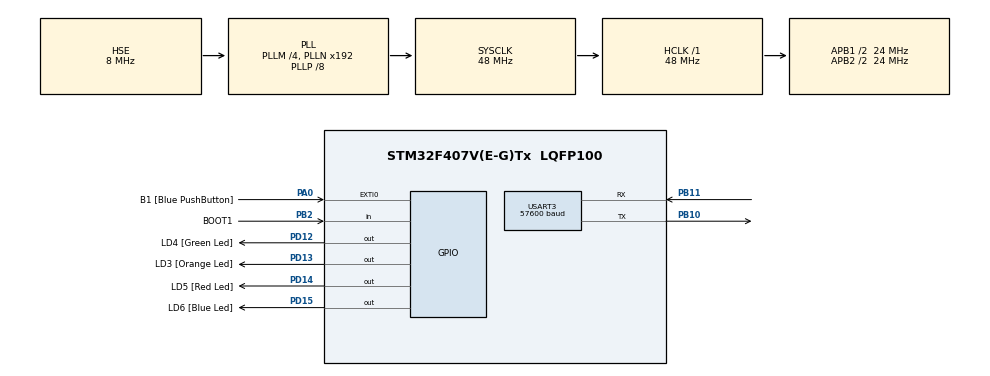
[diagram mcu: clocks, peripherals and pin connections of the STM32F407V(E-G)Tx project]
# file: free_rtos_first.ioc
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FREERTOS.BinarySemaphores01=BinSem01_UART_Green,Dynamic,NULL
FREERTOS.Queues01=myQueue01,1,uint16_t,0,Dynamic,NULL,NULL
FREERTOS.Tasks01=defaultTask,24,128,StartDefaultTask,Default,NULL,Dynamic,NULL,NULL;myTask1ms,8,128,Task1msHandler,Default,NULL,Dynamic,NULL,NULL;myTask10ms,8,128,Task10msHandler,Default,NULL,Dynamic,NULL,NULL;myTask100ms,8,128,Task100msHandler,Default,NULL,Dynamic,NULL,NULL;ButtonCheck,24,128,ButtonCheckHandler,Default,NULL,Dynamic,NULL,NULL;ButtonLedBlink,8,128,ButtonLedBlinkHandler,Default,NULL,Dynamic,NULL,NULL;Task_UART,8,128,Task_UART_Handle,Default,NULL,Dynamic,NULL,NULL
Mcu.Family=STM32F4
Mcu.Name=STM32F407V(E-G)Tx
Mcu.Package=LQFP100
NVIC.PriorityGroup=NVIC_PRIORITYGROUP_4
NVIC.TIM4_IRQn=true\:0\:0\:false\:false\:true\:false\:false\:true
NVIC.TimeBase=TIM4_IRQn
NVIC.TimeBaseIP=TIM4
PA0-WKUP.GPIO_Label=B1 [Blue PushButton]
PA0-WKUP.Signal=GPXTI0
PB10.Mode=Asynchronous
PB10.Signal=USART3_TX
PB11.Mode=Asynchronous
PB11.Signal=USART3_RX
PB2.GPIO_Label=BOOT1
PB2.GPIO_Mode=GPIO_MODE_INPUT
PB2.GPIO_PuPd=GPIO_NOPULL
PB2.Signal=GPIO_Input
PD12.GPIO_Label=LD4 [Green Led]
PD12.GPIO_PuPd=GPIO_NOPULL
PD12.GPIO_Speed=GPIO_SPEED_FREQ_LOW
PD12.Signal=GPIO_Output
PD13.GPIO_Label=LD3 [Orange Led]
PD13.GPIO_PuPd=GPIO_NOPULL
PD13.GPIO_Speed=GPIO_SPEED_FREQ_LOW
PD13.Signal=GPIO_Output
PD14.GPIO_Label=LD5 [Red Led]
PD14.GPIO_PuPd=GPIO_NOPULL
PD14.GPIO_Speed=GPIO_SPEED_FREQ_LOW
PD14.Signal=GPIO_Output
PD15.GPIO_Label=LD6 [Blue Led]
PD15.GPIO_PuPd=GPIO_NOPULL
PD15.GPIO_Speed=GPIO_SPEED_FREQ_LOW
PD15.Signal=GPIO_Output
PH0-OSC_IN.GPIO_Label=PH0-OSC_IN
PH0-OSC_IN.Mode=HSE-External-Clock-Source
PH0-OSC_IN.Signal=RCC_OSC_IN
PH1-OSC_OUT.GPIO_Label=PH1-OSC_OUT
PH1-OSC_OUT.Mode=HSE-External-Clock-Source
PH1-OSC_OUT.Signal=RCC_OSC_OUT
ProjectManager.HeapSize=0x2000
ProjectManager.StackSize=0x4000
ProjectManager.TargetToolchain=STM32CubeIDE
RCC.48MHZClocksFreq_Value=48000000
RCC.AHBFreq_Value=48000000
RCC.APB1CLKDivider=RCC_HCLK_DIV2
RCC.APB1Freq_Value=24000000
RCC.APB1TimFreq_Value=48000000
RCC.APB2CLKDivider=RCC_HCLK_DIV2
RCC.APB2Freq_Value=24000000
RCC.APB2TimFreq_Value=48000000
RCC.CortexFreq_Value=48000000
RCC.HCLKFreq_Value=48000000
RCC.HSE_VALUE=8000000
RCC.HSI_VALUE=16000000
RCC.LSE_VALUE=32768
RCC.PLLM=4
RCC.PLLP=RCC_PLLP_DIV8
RCC.PLLQ=8
RCC.PLLSourceVirtual=RCC_PLLSOURCE_HSE
RCC.SYSCLKFreq_VALUE=48000000
RCC.SYSCLKSource=RCC_SYSCLKSOURCE_PLLCLK
RCC.VCOOutputFreq_Value=384000000
USART3.BaudRate=57600
USART3.VirtualMode=VM_ASYNC
VP_FREERTOS_VS_CMSIS_V2.Mode=CMSIS_V2
VP_SYS_VS_tim4.Mode=TIM4
board=STM32F407G-DISC1

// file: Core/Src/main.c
/* USER CODE BEGIN Header */
/**
  ******************************************************************************
  * @file           : main.c
  * @brief          : Main program body
  ******************************************************************************
  * @attention
  *
  * <h2><center>&copy; Copyright (c) 2020 STMicroelectronics.
  * All rights reserved.</center></h2>
  *
  * This software component is licensed by ST under BSD 3-Clause license,
  * the "License"; You may not use this file except in compliance with the
  * License. You may obtain a copy of the License at:
  *                        opensource.org/licenses/BSD-3-Clause
  *
  ******************************************************************************
  */
/* USER CODE END Header */
#include "main.h"
#include "cmsis_os.h"

/* USER CODE BEGIN Includes */
#include "task.h"
#include "queue.h"
#include "semphr.h"
/* USER CODE END Includes */

UART_HandleTypeDef huart3;

/* Definitions for defaultTask */
osThreadId_t defaultTaskHandle;
const osThreadAttr_t defaultTask_attributes = {
  .name = "defaultTask",
  .priority = (osPriority_t) osPriorityNormal,
  .stack_size = 128 * 4
};
/* Definitions for myTask1ms */
osThreadId_t myTask1msHandle;
const osThreadAttr_t myTask1ms_attributes = {
  .name = "myTask1ms",
  .priority = (osPriority_t) osPriorityLow,
  .stack_size = 128 * 4
};
/* Definitions for myTask10ms */
osThreadId_t myTask10msHandle;
const osThreadAttr_t myTask10ms_attributes = {
  .name = "myTask10ms",
  .priority = (osPriority_t) osPriorityLow,
  .stack_size = 128 * 4
};
/* Definitions for myTask100ms */
osThreadId_t myTask100msHandle;
const osThreadAttr_t myTask100ms_attributes = {
  .name = "myTask100ms",
  .priority = (osPriority_t) osPriorityLow,
  .stack_size = 128 * 4
};
/* Definitions for ButtonCheck */
osThreadId_t ButtonCheckHandle;
const osThreadAttr_t ButtonCheck_attributes = {
  .name = "ButtonCheck",
  .priority = (osPriority_t) osPriorityNormal,
  .stack_size = 128 * 4
};
/* Definitions for ButtonLedBlink */
osThreadId_t ButtonLedBlinkHandle;
const osThreadAttr_t ButtonLedBlink_attributes = {
  .name = "ButtonLedBlink",
  .priority = (osPriority_t) osPriorityLow,
  .stack_size = 128 * 4
};
/* Definitions for Task_UART */
osThreadId_t Task_UARTHandle;
const osThreadAttr_t Task_UART_attributes = {
  .name = "Task_UART",
  .priority = (osPriority_t) osPriorityLow,
  .stack_size = 128 * 4
};
/* Definitions for myQueue01 */
osMessageQueueId_t myQueue01Handle;
const osMessageQueueAttr_t myQueue01_attributes = {
  .name = "myQueue01"
};
/* Definitions for BinSem01_UART_Green */
osSemaphoreId_t BinSem01_UART_GreenHandle;
const osSemaphoreAttr_t BinSem01_UART_Green_attributes = {
  .name = "BinSem01_UART_Green"
};
/* USER CODE BEGIN PV */
//uint8_t message_USB_tx [20]; //массив для передачи по USB
//uint8_t message_USB_rx [20]; //массив для приёма по USB
char message_UART_tx [20];
//uint8_t message_UART_rx [20];

uint32_t task1msCnt = 0;
uint32_t task10msCnt = 0;
uint32_t task100msCnt = 0;

//osThreadId Task1msHandle,Task10msHandle,Task100msHandle; // специальная глобальная переменная для очереди
/* USER CODE END PV */

void SystemClock_Config(void);
static void MX_GPIO_Init(void);
static void MX_USART3_UART_Init(void);
void StartDefaultTask(void *argument);
void Task1msHandler(void *argument);
void Task10msHandler(void *argument);
void Task100msHandler(void *argument);
void ButtonCheckHandler(void *argument);
void ButtonLedBlinkHandler(void *argument);
void Task_UART_Handle(void *argument);

int main(void)
{

  /* MCU Configuration--------------------------------------------------------*/

  /* Reset of all peripherals, Initializes the Flash interface and the Systick. */
  HAL_Init();

  /* Configure the system clock */
  SystemClock_Config();

  /* Initialize all configured peripherals */
  MX_GPIO_Init();
  MX_USART3_UART_Init();

  /* Init scheduler */
  osKernelInitialize();

  /* Create the semaphores(s) */
  /* creation of BinSem01_UART_Green */
  BinSem01_UART_GreenHandle = osSemaphoreNew(1, 1, &BinSem01_UART_Green_attributes);

  /* Create the queue(s) */
  /* creation of myQueue01 */
  myQueue01Handle = osMessageQueueNew (1, sizeof(uint16_t), &myQueue01_attributes);

  /* Create the thread(s) */
  /* creation of defaultTask */
  defaultTaskHandle = osThreadNew(StartDefaultTask, NULL, &defaultTask_attributes);

  /* creation of myTask1ms */
  myTask1msHandle = osThreadNew(Task1msHandler, NULL, &myTask1ms_attributes);

  /* creation of myTask10ms */
  myTask10msHandle = osThreadNew(Task10msHandler, NULL, &myTask10ms_attributes);

  /* creation of myTask100ms */
  myTask100msHandle = osThreadNew(Task100msHandler, NULL, &myTask100ms_attributes);

  /* creation of ButtonCheck */
  ButtonCheckHandle = osThreadNew(ButtonCheckHandler, NULL, &ButtonCheck_attributes);

  /* creation of ButtonLedBlink */
  ButtonLedBlinkHandle = osThreadNew(ButtonLedBlinkHandler, NULL, &ButtonLedBlink_attributes);

  /* creation of Task_UART */
  Task_UARTHandle = osThreadNew(Task_UART_Handle, NULL, &Task_UART_attributes);

  /* Start scheduler */
  osKernelStart();

  /* We should never get here as control is now taken by the scheduler */
  /* Infinite loop */
  while (1)
  {

  }
}

void SystemClock_Config(void)
{
  RCC_OscInitTypeDef RCC_OscInitStruct = {0};
  RCC_ClkInitTypeDef RCC_ClkInitStruct = {0};

  /** Configure the main internal regulator output voltage
  */
  __HAL_RCC_PWR_CLK_ENABLE();
  __HAL_PWR_VOLTAGESCALING_CONFIG(PWR_REGULATOR_VOLTAGE_SCALE1);
  /** Initializes the RCC Oscillators according to the specified parameters
  * in the RCC_OscInitTypeDef structure.
  */
  RCC_OscInitStruct.OscillatorType = RCC_OSCILLATORTYPE_HSE;
  RCC_OscInitStruct.HSEState = RCC_HSE_BYPASS;
  RCC_OscInitStruct.PLL.PLLState = RCC_PLL_ON;
  RCC_OscInitStruct.PLL.PLLSource = RCC_PLLSOURCE_HSE;
  RCC_OscInitStruct.PLL.PLLM = 4;
  RCC_OscInitStruct.PLL.PLLN = 192;
  RCC_OscInitStruct.PLL.PLLP = RCC_PLLP_DIV8;
  RCC_OscInitStruct.PLL.PLLQ = 8;
  if (HAL_RCC_OscConfig(&RCC_OscInitStruct) != HAL_OK)
  {
    Error_Handler();
  }
  /** Initializes the CPU, AHB and APB buses clocks
  */
  RCC_ClkInitStruct.ClockType = RCC_CLOCKTYPE_HCLK|RCC_CLOCKTYPE_SYSCLK
                              |RCC_CLOCKTYPE_PCLK1|RCC_CLOCKTYPE_PCLK2;
  RCC_ClkInitStruct.SYSCLKSource = RCC_SYSCLKSOURCE_PLLCLK;
  RCC_ClkInitStruct.AHBCLKDivider = RCC_SYSCLK_DIV1;
  RCC_ClkInitStruct.APB1CLKDivider = RCC_HCLK_DIV2;
  RCC_ClkInitStruct.APB2CLKDivider = RCC_HCLK_DIV2;

  if (HAL_RCC_ClockConfig(&RCC_ClkInitStruct, FLASH_LATENCY_1) != HAL_OK)
  {
    Error_Handler();
  }
}

static void MX_USART3_UART_Init(void)
{

  huart3.Instance = USART3;
  huart3.Init.BaudRate = 57600;
  huart3.Init.WordLength = UART_WORDLENGTH_8B;
  huart3.Init.StopBits = UART_STOPBITS_1;
  huart3.Init.Parity = UART_PARITY_NONE;
  huart3.Init.Mode = UART_MODE_TX_RX;
  huart3.Init.HwFlowCtl = UART_HWCONTROL_NONE;
  huart3.Init.OverSampling = UART_OVERSAMPLING_16;
  if (HAL_UART_Init(&huart3) != HAL_OK)
  {
    Error_Handler();
  }

}

static void MX_GPIO_Init(void)
{
  GPIO_InitTypeDef GPIO_InitStruct = {0};

  /* GPIO Ports Clock Enable */
  __HAL_RCC_GPIOH_CLK_ENABLE();
  __HAL_RCC_GPIOA_CLK_ENABLE();
  __HAL_RCC_GPIOB_CLK_ENABLE();
  __HAL_RCC_GPIOD_CLK_ENABLE();

  /*Configure GPIO pin Output Level */
  HAL_GPIO_WritePin(GPIOD, LD4_Pin|LD3_Pin|LD5_Pin|LD6_Pin, GPIO_PIN_RESET);

  /*Configure GPIO pin : B1_Pin */
  GPIO_InitStruct.Pin = B1_Pin;
  GPIO_InitStruct.Mode = GPIO_MODE_IT_RISING;
  GPIO_InitStruct.Pull = GPIO_NOPULL;
  HAL_GPIO_Init(B1_GPIO_Port, &GPIO_InitStruct);

  /*Configure GPIO pin : BOOT1_Pin */
  GPIO_InitStruct.Pin = BOOT1_Pin;
  GPIO_InitStruct.Mode = GPIO_MODE_INPUT;
  GPIO_InitStruct.Pull = GPIO_NOPULL;
  HAL_GPIO_Init(BOOT1_GPIO_Port, &GPIO_InitStruct);

  /*Configure GPIO pins : LD4_Pin LD3_Pin LD5_Pin LD6_Pin */
  GPIO_InitStruct.Pin = LD4_Pin|LD3_Pin|LD5_Pin|LD6_Pin;
  GPIO_InitStruct.Mode = GPIO_MODE_OUTPUT_PP;
  GPIO_InitStruct.Pull = GPIO_NOPULL;
  GPIO_InitStruct.Speed = GPIO_SPEED_FREQ_LOW;
  HAL_GPIO_Init(GPIOD, &GPIO_InitStruct);

}

void StartDefaultTask(void *argument)
{
  for(;;)
  {
    osDelay(1);
  }
}

void Task1msHandler(void *argument)
{
  /* USER CODE BEGIN Task1msHandler */
    TickType_t xLastWakeTime; //xLastWakeTime хранит значение времени, соответствующее моменту, когда задача была разблокирована в предыдущий раз.
    const TickType_t xFrequency = 1 / portTICK_PERIOD_MS; // аргумент задаёт нужный период
    xLastWakeTime = xTaskGetTickCount(); //xLastWakeTime нуждается в инициализации текущим значением счетчика тиков. Переменная записывается явно только в этот момент, затем обновляется автоматически внутри функции vTaskDelayUntil()
  /* Infinite loop */
  for(;;)
  {
	  task1msCnt++;
	  if (task1msCnt == 100)
	  	  {
		  task1msCnt = 0;
		  HAL_GPIO_TogglePin(GPIOD, GPIO_PIN_12);
	  	  }
	  vTaskDelayUntil(&xLastWakeTime, xFrequency); //функция vTaskDelayUntil() вызывает диспетчер, который переводит задачу в WAIT на период T = xLastWakeTime + xFrequency от момента прошлого пробуждения задачи*/
  }
  /* USER CODE END Task1msHandler */
}

void Task10msHandler(void *argument)
{
  /* USER CODE BEGIN Task10msHandler */
	TickType_t xLastWakeTime; //аргумент хранит значение времени, соответствующее моменту, когда задача была разблокирована в предыдущий раз
	const TickType_t xFrequency = 10 / portTICK_PERIOD_MS; // аргумент задаёт нужный период (в данном случае 10 мс)
	xLastWakeTime = xTaskGetTickCount();
  /* Infinite loop */
  for(;;)
  {
	task10msCnt++;
	if (task10msCnt == 100) //(досчитаем до 1 с)
		{
		task10msCnt = 0;
	 	HAL_GPIO_TogglePin(GPIOD, GPIO_PIN_13);
	 	}
	vTaskDelayUntil(&xLastWakeTime, xFrequency); //функция vTaskDelayUntil() заблокирует задачу до момента времени T = xLastWakeTime + xFrequency*/
  }
  /* USER CODE END Task10msHandler */
}

void Task100msHandler(void *argument)
{
  /* USER CODE BEGIN Task100msHandler */
	TickType_t xLastWakeTime; //аргумент хранит значение времени, соответствующее моменту, когда задача была разблокирована в предыдущий раз
	const TickType_t xFrequency = 50 / portTICK_PERIOD_MS; // аргумент задаёт нужный период (в данном случае 50 мс)
	xLastWakeTime = xTaskGetTickCount();
  /* Infinite loop */
  for(;;)
  {
		task100msCnt++;
	if (task100msCnt == 100) //(досчитаем до 5 с)
		{
		task100msCnt = 0;
	 	HAL_GPIO_TogglePin(GPIOD, GPIO_PIN_14);
	 	xSemaphoreGive (BinSem01_UART_GreenHandle); //выдать семафор
	 	}
	vTaskDelayUntil(&xLastWakeTime, xFrequency); //функция vTaskDelayUntil() заблокирует задачу до момента времени T = xLastWakeTime + xFrequency*/
  }

  /* USER CODE END Task100msHandler */
}

void ButtonCheckHandler(void *argument)
{
  /* USER CODE BEGIN ButtonCheckHandler */
  /* Infinite loop */
	uint8_t button = 0;
  for(;;)
  {
	  	if(HAL_GPIO_ReadPin(GPIOA, GPIO_PIN_0)==GPIO_PIN_SET) // button is pressed?
			{
			button = 1;
			}
		if (button)
			{
			xQueueSend (myQueue01Handle, &button, 0); //xQueueSendToFront() используется для отправки данных в начало очереди.
			button = 0;
			vTaskDelay(200 / portTICK_RATE_MS); //вызовом vTaskDelay(), задача помещается в состояние Blocked до истечения периода задержки. Период задержки указывается в 'тиках', можно использовать portTICK_RATE_MS для преобразования в мс
			}
    osDelay(1);
  }
  /* USER CODE END ButtonCheckHandler */
}

void ButtonLedBlinkHandler(void *argument)
{
  /* USER CODE BEGIN ButtonLedBlinkHandler */
  /* Infinite loop */
	uint8_t blink_rate=0; //индикатор включения кнопки
  for(;;)
  {
	xQueueReceive (myQueue01Handle, &blink_rate, 0); //xQueueReceive() используется для приема (чтения) элемента из очереди, при этом элемент удаляется из очереди
	if (blink_rate)
		{
		HAL_GPIO_TogglePin(GPIOD, GPIO_PIN_15);
		blink_rate = 0;
		}
    osDelay(1);
  }
  /* USER CODE END ButtonLedBlinkHandler */
}

void Task_UART_Handle(void *argument)
{
  /* USER CODE BEGIN Task_UART_Handle */
  /* Infinite loop */
  for(;;)
  {
	if( BinSem01_UART_GreenHandle != NULL )
	{
		if( xSemaphoreTake( BinSem01_UART_GreenHandle, (TickType_t) (200 / portTICK_RATE_MS) ) == pdTRUE ) //подождать 200 тиков, пока семафор станет свободным
		{
			sprintf (message_UART_tx, "red_led!\r\n");
			HAL_UART_Transmit (&huart3, (unsigned char*)message_UART_tx, strlen(message_UART_tx), 0xFFFF);
			memset(message_UART_tx, '\0', sizeof(message_UART_tx)); //очищаем буфер передачи
		}
	}
  }
  /* USER CODE END Task_UART_Handle */
}

 /**
  * @brief  Period elapsed callback in non blocking mode
  * @note   This function is called  when TIM4 interrupt took place, inside
  * HAL_TIM_IRQHandler(). It makes a direct call to HAL_IncTick() to increment
  * a global variable "uwTick" used as application time base.
  * @param  htim : TIM handle
  * @retval None
  */
void HAL_TIM_PeriodElapsedCallback(TIM_HandleTypeDef *htim)
{
  if (htim->Instance == TIM4) {
    HAL_IncTick();
  }
}

void Error_Handler(void)
{
}

/************************ (C) COPYRIGHT STMicroelectronics *****END OF FILE****/
